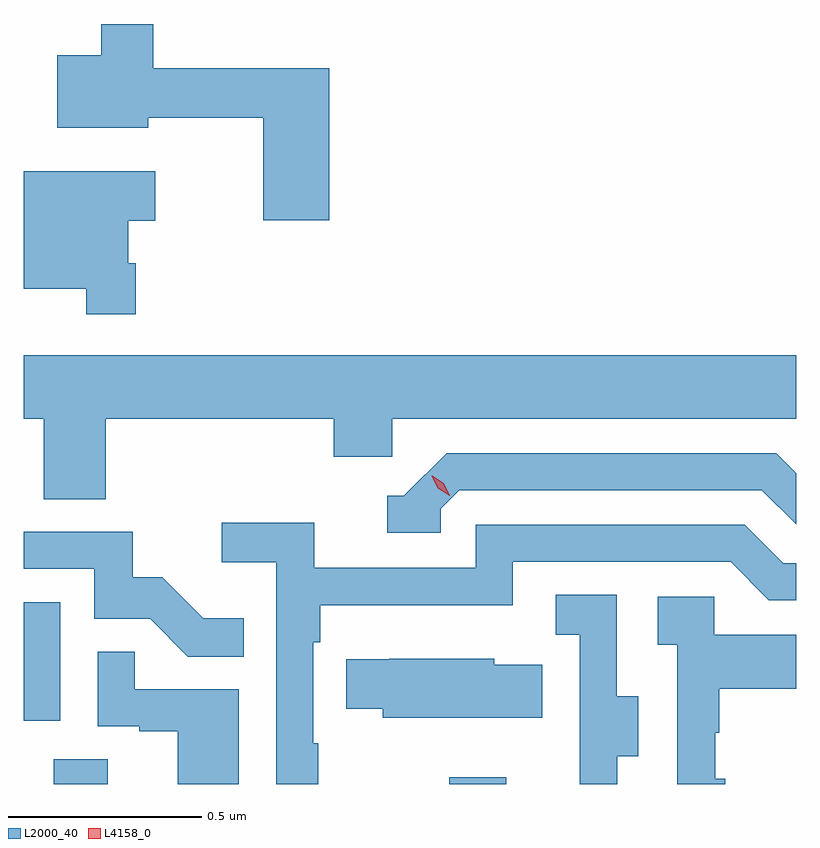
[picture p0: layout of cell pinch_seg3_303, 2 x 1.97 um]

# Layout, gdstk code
import gdstk
lib = gdstk.Library(unit=1e-6, precision=1e-09)
def R(c, l, rs):  # rectangles x0, y0, x1, y1
    for r in rs: c.add(gdstk.rectangle(r[:2], r[2:], *l))
def P(c, l, *ps):  # polygons
    for p in ps: c.add(gdstk.Polygon(p, *l))
L2000_40 = (2000, 40)
L4158_0 = (4158, 0)

pinch_seg3_303 = lib.new_cell('pinch_seg3_303')
R(pinch_seg3_303, L2000_40, [(975.323,723.946,975.463,724.01), (976.348,723.946,976.495,723.964), (975.246,724.11,975.34,724.417)])
P(pinch_seg3_303, L2000_40, [(976.037,725.8),(975.581,725.8),(975.581,725.914),(975.446,725.914),(975.446,725.833),(975.332,725.833),(975.332,725.645),(975.568,725.645),(975.568,725.671),(975.866,725.671),(975.866,725.406),(976.037,725.406)],
  [(975.536,725.295),(975.517,725.295),(975.517,725.404),(975.586,725.404),(975.586,725.533),(975.246,725.533),(975.246,725.228),(975.408,725.228),(975.408,725.163),(975.536,725.163)],
  [(975.458,724.892),(976.049,724.892),(976.049,724.794),(976.2,724.794),(976.2,724.892),(977.246,724.892),(977.246,725.056),(975.246,725.056),(975.246,724.892),(975.298,724.892),(975.298,724.684),(975.458,724.684)],
  [(976.326,724.659),(976.374,724.707),(977.157,724.707),(977.246,724.618),(977.246,724.751),(977.194,724.803),(976.341,724.803),(976.23,724.692),(976.187,724.692),(976.187,724.596),(976.326,724.596)],
  [(976.009,724.052),(975.996,724.052),(975.996,724.313),(976.013,724.313),(976.013,724.409),(976.512,724.409),(976.512,724.521),(977.076,724.521),(977.175,724.422),(977.246,724.422),(977.246,724.518),(977.212,724.518),(977.113,724.617),(976.416,724.617),(976.416,724.506),(975.998,724.506),(975.998,724.622),(975.759,724.622),(975.759,724.52),(975.9,724.52),(975.9,723.946),(976.009,723.946)],
  [(975.815,724.375),(975.711,724.375),(975.604,724.482),(975.528,724.482),(975.528,724.599),(975.246,724.599),(975.246,724.503),(975.429,724.503),(975.429,724.374),(975.573,724.374),(975.671,724.276),(975.815,724.276)],
  [(976.783,724.018),(976.837,724.018),(976.837,724.173),(976.782,724.173),(976.782,724.436),(976.623,724.436),(976.623,724.333),(976.686,724.333),(976.686,724.029),(976.685,724.029),(976.685,723.946),(976.783,723.946)],
  [(977.062,723.96),(977.037,723.96),(977.037,724.079),(977.047,724.079),(977.047,724.193),(977.246,724.193),(977.246,724.333),(977.034,724.333),(977.034,724.431),(976.887,724.431),(976.887,724.307),(976.938,724.307),(976.938,723.946),(977.062,723.946)],
  [(975.802,724.191),(975.533,724.191),(975.533,724.289),(975.438,724.289),(975.438,724.095),(975.545,724.095),(975.545,724.083),(975.644,724.083),(975.644,723.946),(975.802,723.946)],
  [(976.589,724.255),(976.464,724.255),(976.464,724.27),(976.192,724.27),(976.192,724.269),(976.081,724.269),(976.081,724.141),(976.175,724.141),(976.175,724.118),(976.589,724.118)])
P(pinch_seg3_303, L4158_0, [(976.349,724.692),(976.318,724.712),(976.302,724.744),(976.302,724.744),(976.303,724.744),(976.333,724.725),(976.349,724.693),(976.349,724.692)])

lib.write_gds('pinch_seg3_303.gds')
